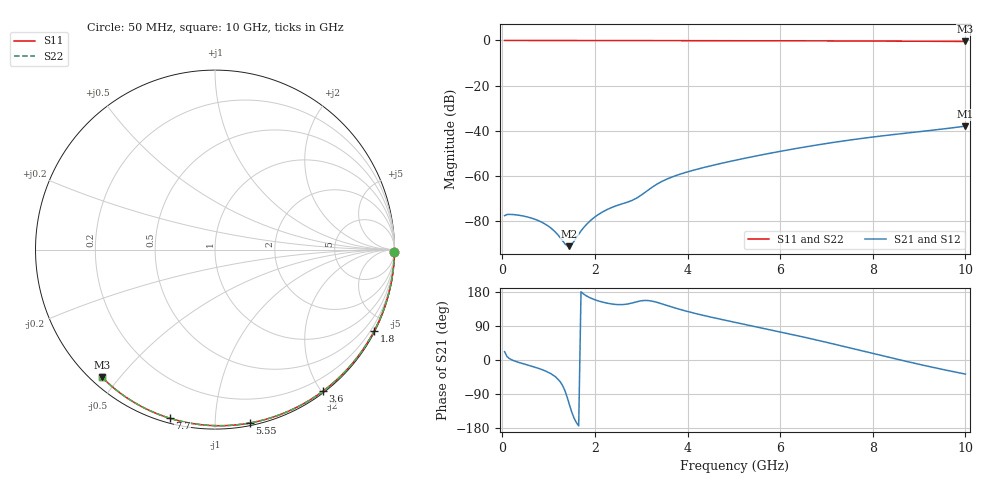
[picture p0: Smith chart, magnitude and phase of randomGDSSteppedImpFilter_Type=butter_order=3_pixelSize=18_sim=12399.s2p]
! freq	dB(S11)	phase(S11)	dB(S12)	phase(S12)
!  dB(S21)	phase(S21)	dB(S22)	phase(S22)
!S-par simulation data
#  GHz  S  DB  R 50
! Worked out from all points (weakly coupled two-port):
!   200 points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, 50 MHz to 10 GHz, reference 50 ohm
!   highest |S21| = -37.94 dB at 10 GHz (marker M1); lowest = -91.1 dB at 1.45 GHz (marker M2)
!   lowest |S11| = -0.5 dB at 10 GHz (marker M3), VSWR 38.59, Z = 1.56 - j22.5 ohm
!   |S11| at or under -10 dB: nowhere
!   |S22| runs from -0.5 to 0.0 dB; largest |S21 - S12| = 0
!   S11 on the Smith chart (normalised r, x): 50 MHz: open; 1.8 GHz: 0.04, -4.17; 3.6 GHz: 0.02, -2.02; 5.55 GHz: 0.02, -1.22; 7.7 GHz: 0.02, -0.77; 10 GHz: 0.03, -0.45
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0.05  -0.00 -0.8  -77.59 21.9  -77.59 21.9  -0.00 -0.8
0.15  -0.00 -2.3  -77.02 4.1  -77.02 4.1  -0.00 -2.3
0.35  -0.00 -5.3  -77.38 -6.1  -77.38 -6.1  -0.00 -5.3
0.6  -0.01 -9.1  -78.48 -15.2  -78.48 -15.2  -0.01 -9.1
0.8  -0.01 -12.1  -79.98 -22.8  -79.98 -22.8  -0.01 -12.1
1.45  -0.03 -21.8  -91.10 -118.3  -91.10 -118.3  -0.03 -21.8
1.75  -0.03 -26.2  -83.05 174.7  -83.05 174.7  -0.03 -26.2
1.8  -0.03 -26.9  -81.88 170.4  -81.88 170.4  -0.03 -26.9
1.9  -0.04 -28.4  -79.85 163.9  -79.85 163.9  -0.04 -28.4
2.1  -0.04 -31.3  -76.75 155.0  -76.75 155.0  -0.04 -31.3
2.3  -0.04 -34.2  -74.52 149.1  -74.52 149.1  -0.04 -34.2
2.8  -0.05 -41.4  -70.87 150.3  -70.87 150.3  -0.05 -41.4
2.9  -0.06 -42.9  -69.83 153.6  -69.83 153.6  -0.06 -42.9
3.4  -0.07 -49.9  -62.94 150.0  -62.94 150.0  -0.07 -49.9
3.6  -0.07 -52.7  -61.00 142.2  -61.00 142.2  -0.07 -52.7
4.15  -0.08 -60.3  -57.34 123.3  -57.34 123.3  -0.08 -60.3
5.05  -0.11 -72.2  -52.98 98.8  -52.98 98.8  -0.11 -72.2
5.55  -0.13 -78.7  -50.87 86.0  -50.87 86.0  -0.13 -78.7
6.7  -0.18 -93.1  -46.61 55.2  -46.61 55.2  -0.18 -93.1
7.7  -0.24 -105.1  -43.56 26.3  -43.56 26.3  -0.24 -105.1
8.35  -0.29 -112.7  -41.90 7.1  -41.90 7.1  -0.29 -112.7
10  -0.45 -131.4  -37.94 -37.2  -37.94 -37.2  -0.45 -131.4
